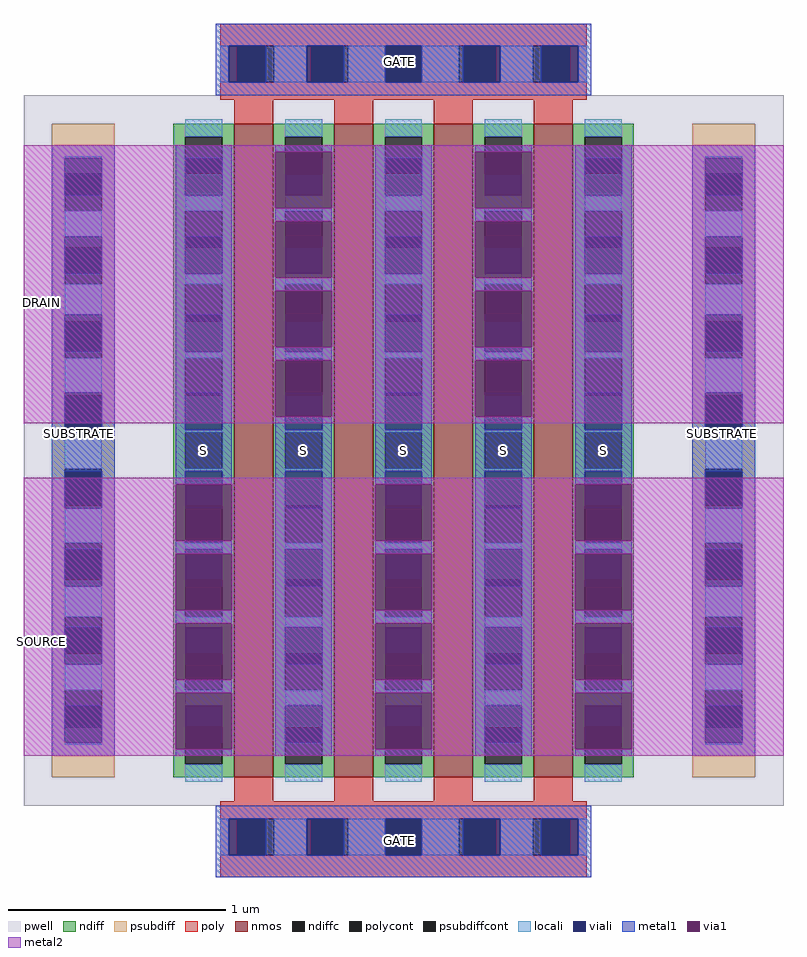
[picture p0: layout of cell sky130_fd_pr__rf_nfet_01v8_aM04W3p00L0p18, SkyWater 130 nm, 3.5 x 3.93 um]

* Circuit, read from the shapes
.subckt sky130_fd_pr__rf_nfet_01v8_aM04W3p00L0p18 DRAIN GATE SOURCE SUBSTRATE
XM1 DRAIN GATE SOURCE SUBSTRATE sky130_fd_pr__nfet_01v8 w=3.01 l=0.18 m=4
.ends

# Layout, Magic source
magic
tech sky130A
magscale 1 2
<< pwell >>
rect 0 66 700 720
<< nmos >>
rect 194 92 230 694
rect 286 92 322 694
rect 378 92 414 694
rect 470 92 506 694
<< ndiff >>
rect 138 682 194 694
rect 138 648 149 682
rect 183 648 194 682
rect 138 614 194 648
rect 138 580 149 614
rect 183 580 194 614
rect 138 546 194 580
rect 138 512 149 546
rect 183 512 194 546
rect 138 478 194 512
rect 138 444 149 478
rect 183 444 194 478
rect 138 410 194 444
rect 138 376 149 410
rect 183 376 194 410
rect 138 342 194 376
rect 138 308 149 342
rect 183 308 194 342
rect 138 274 194 308
rect 138 240 149 274
rect 183 240 194 274
rect 138 206 194 240
rect 138 172 149 206
rect 183 172 194 206
rect 138 138 194 172
rect 138 104 149 138
rect 183 104 194 138
rect 138 92 194 104
rect 230 682 286 694
rect 230 648 241 682
rect 275 648 286 682
rect 230 614 286 648
rect 230 580 241 614
rect 275 580 286 614
rect 230 546 286 580
rect 230 512 241 546
rect 275 512 286 546
rect 230 478 286 512
rect 230 444 241 478
rect 275 444 286 478
rect 230 410 286 444
rect 230 376 241 410
rect 275 376 286 410
rect 230 342 286 376
rect 230 308 241 342
rect 275 308 286 342
rect 230 274 286 308
rect 230 240 241 274
rect 275 240 286 274
rect 230 206 286 240
rect 230 172 241 206
rect 275 172 286 206
rect 230 138 286 172
rect 230 104 241 138
rect 275 104 286 138
rect 230 92 286 104
rect 322 682 378 694
rect 322 648 333 682
rect 367 648 378 682
rect 322 614 378 648
rect 322 580 333 614
rect 367 580 378 614
rect 322 546 378 580
rect 322 512 333 546
rect 367 512 378 546
rect 322 478 378 512
rect 322 444 333 478
rect 367 444 378 478
rect 322 410 378 444
rect 322 376 333 410
rect 367 376 378 410
rect 322 342 378 376
rect 322 308 333 342
rect 367 308 378 342
rect 322 274 378 308
rect 322 240 333 274
rect 367 240 378 274
rect 322 206 378 240
rect 322 172 333 206
rect 367 172 378 206
rect 322 138 378 172
rect 322 104 333 138
rect 367 104 378 138
rect 322 92 378 104
rect 414 682 470 694
rect 414 648 425 682
rect 459 648 470 682
rect 414 614 470 648
rect 414 580 425 614
rect 459 580 470 614
rect 414 546 470 580
rect 414 512 425 546
rect 459 512 470 546
rect 414 478 470 512
rect 414 444 425 478
rect 459 444 470 478
rect 414 410 470 444
rect 414 376 425 410
rect 459 376 470 410
rect 414 342 470 376
rect 414 308 425 342
rect 459 308 470 342
rect 414 274 470 308
rect 414 240 425 274
rect 459 240 470 274
rect 414 206 470 240
rect 414 172 425 206
rect 459 172 470 206
rect 414 138 470 172
rect 414 104 425 138
rect 459 104 470 138
rect 414 92 470 104
rect 506 682 562 694
rect 506 648 517 682
rect 551 648 562 682
rect 506 614 562 648
rect 506 580 517 614
rect 551 580 562 614
rect 506 546 562 580
rect 506 512 517 546
rect 551 512 562 546
rect 506 478 562 512
rect 506 444 517 478
rect 551 444 562 478
rect 506 410 562 444
rect 506 376 517 410
rect 551 376 562 410
rect 506 342 562 376
rect 506 308 517 342
rect 551 308 562 342
rect 506 274 562 308
rect 506 240 517 274
rect 551 240 562 274
rect 506 206 562 240
rect 506 172 517 206
rect 551 172 562 206
rect 506 138 562 172
rect 506 104 517 138
rect 551 104 562 138
rect 506 92 562 104
<< ndiffc >>
rect 149 648 183 682
rect 149 580 183 614
rect 149 512 183 546
rect 149 444 183 478
rect 149 376 183 410
rect 149 308 183 342
rect 149 240 183 274
rect 149 172 183 206
rect 149 104 183 138
rect 241 648 275 682
rect 241 580 275 614
rect 241 512 275 546
rect 241 444 275 478
rect 241 376 275 410
rect 241 308 275 342
rect 241 240 275 274
rect 241 172 275 206
rect 241 104 275 138
rect 333 648 367 682
rect 333 580 367 614
rect 333 512 367 546
rect 333 444 367 478
rect 333 376 367 410
rect 333 308 367 342
rect 333 240 367 274
rect 333 172 367 206
rect 333 104 367 138
rect 425 648 459 682
rect 425 580 459 614
rect 425 512 459 546
rect 425 444 459 478
rect 425 376 459 410
rect 425 308 459 342
rect 425 240 459 274
rect 425 172 459 206
rect 425 104 459 138
rect 517 648 551 682
rect 517 580 551 614
rect 517 512 551 546
rect 517 444 551 478
rect 517 376 551 410
rect 517 308 551 342
rect 517 240 551 274
rect 517 172 551 206
rect 517 104 551 138
<< psubdiff >>
rect 26 648 84 694
rect 26 614 38 648
rect 72 614 84 648
rect 26 580 84 614
rect 26 546 38 580
rect 72 546 84 580
rect 26 512 84 546
rect 26 478 38 512
rect 72 478 84 512
rect 26 444 84 478
rect 26 410 38 444
rect 72 410 84 444
rect 26 376 84 410
rect 26 342 38 376
rect 72 342 84 376
rect 26 308 84 342
rect 26 274 38 308
rect 72 274 84 308
rect 26 240 84 274
rect 26 206 38 240
rect 72 206 84 240
rect 26 172 84 206
rect 26 138 38 172
rect 72 138 84 172
rect 26 92 84 138
rect 616 648 674 694
rect 616 614 628 648
rect 662 614 674 648
rect 616 580 674 614
rect 616 546 628 580
rect 662 546 674 580
rect 616 512 674 546
rect 616 478 628 512
rect 662 478 674 512
rect 616 444 674 478
rect 616 410 628 444
rect 662 410 674 444
rect 616 376 674 410
rect 616 342 628 376
rect 662 342 674 376
rect 616 308 674 342
rect 616 274 628 308
rect 662 274 674 308
rect 616 240 674 274
rect 616 206 628 240
rect 662 206 674 240
rect 616 172 674 206
rect 616 138 628 172
rect 662 138 674 172
rect 616 92 674 138
<< psubdiffcont >>
rect 38 614 72 648
rect 38 546 72 580
rect 38 478 72 512
rect 38 410 72 444
rect 38 342 72 376
rect 38 274 72 308
rect 38 206 72 240
rect 38 138 72 172
rect 628 614 662 648
rect 628 546 662 580
rect 628 478 662 512
rect 628 410 662 444
rect 628 342 662 376
rect 628 274 662 308
rect 628 206 662 240
rect 628 138 662 172
<< poly >>
rect 181 766 519 786
rect 181 732 197 766
rect 231 732 265 766
rect 299 732 333 766
rect 367 732 401 766
rect 435 732 469 766
rect 503 732 519 766
rect 181 716 519 732
rect 194 694 230 716
rect 286 694 322 716
rect 378 694 414 716
rect 470 694 506 716
rect 194 70 230 92
rect 286 70 322 92
rect 378 70 414 92
rect 470 70 506 92
rect 181 54 519 70
rect 181 20 197 54
rect 231 20 265 54
rect 299 20 333 54
rect 367 20 401 54
rect 435 20 469 54
rect 503 20 519 54
rect 181 0 519 20
<< polycont >>
rect 197 732 231 766
rect 265 732 299 766
rect 333 732 367 766
rect 401 732 435 766
rect 469 732 503 766
rect 197 20 231 54
rect 265 20 299 54
rect 333 20 367 54
rect 401 20 435 54
rect 469 20 503 54
<< locali >>
rect 181 732 189 766
rect 231 732 261 766
rect 299 732 333 766
rect 367 732 401 766
rect 439 732 469 766
rect 511 732 519 766
rect 149 682 183 698
rect 38 662 72 664
rect 38 590 72 614
rect 38 518 72 546
rect 38 446 72 478
rect 38 376 72 410
rect 38 308 72 340
rect 38 240 72 268
rect 38 172 72 196
rect 38 122 72 124
rect 149 614 183 628
rect 149 546 183 556
rect 149 478 183 484
rect 149 410 183 412
rect 149 374 183 376
rect 149 302 183 308
rect 149 230 183 240
rect 149 158 183 172
rect 149 88 183 104
rect 241 682 275 698
rect 241 614 275 628
rect 241 546 275 556
rect 241 478 275 484
rect 241 410 275 412
rect 241 374 275 376
rect 241 302 275 308
rect 241 230 275 240
rect 241 158 275 172
rect 241 88 275 104
rect 333 682 367 698
rect 333 614 367 628
rect 333 546 367 556
rect 333 478 367 484
rect 333 410 367 412
rect 333 374 367 376
rect 333 302 367 308
rect 333 230 367 240
rect 333 158 367 172
rect 333 88 367 104
rect 425 682 459 698
rect 425 614 459 628
rect 425 546 459 556
rect 425 478 459 484
rect 425 410 459 412
rect 425 374 459 376
rect 425 302 459 308
rect 425 230 459 240
rect 425 158 459 172
rect 425 88 459 104
rect 517 682 551 698
rect 517 614 551 628
rect 517 546 551 556
rect 517 478 551 484
rect 517 410 551 412
rect 517 374 551 376
rect 517 302 551 308
rect 517 230 551 240
rect 517 158 551 172
rect 628 662 662 664
rect 628 590 662 614
rect 628 518 662 546
rect 628 446 662 478
rect 628 376 662 410
rect 628 308 662 340
rect 628 240 662 268
rect 628 172 662 196
rect 628 122 662 124
rect 517 88 551 104
rect 181 20 189 54
rect 231 20 261 54
rect 299 20 333 54
rect 367 20 401 54
rect 439 20 469 54
rect 511 20 519 54
<< viali >>
rect 189 732 197 766
rect 197 732 223 766
rect 261 732 265 766
rect 265 732 295 766
rect 333 732 367 766
rect 405 732 435 766
rect 435 732 439 766
rect 477 732 503 766
rect 503 732 511 766
rect 38 648 72 662
rect 38 628 72 648
rect 38 580 72 590
rect 38 556 72 580
rect 38 512 72 518
rect 38 484 72 512
rect 38 444 72 446
rect 38 412 72 444
rect 38 342 72 374
rect 38 340 72 342
rect 38 274 72 302
rect 38 268 72 274
rect 38 206 72 230
rect 38 196 72 206
rect 38 138 72 158
rect 38 124 72 138
rect 149 648 183 662
rect 149 628 183 648
rect 149 580 183 590
rect 149 556 183 580
rect 149 512 183 518
rect 149 484 183 512
rect 149 444 183 446
rect 149 412 183 444
rect 149 342 183 374
rect 149 340 183 342
rect 149 274 183 302
rect 149 268 183 274
rect 149 206 183 230
rect 149 196 183 206
rect 149 138 183 158
rect 149 124 183 138
rect 241 648 275 662
rect 241 628 275 648
rect 241 580 275 590
rect 241 556 275 580
rect 241 512 275 518
rect 241 484 275 512
rect 241 444 275 446
rect 241 412 275 444
rect 241 342 275 374
rect 241 340 275 342
rect 241 274 275 302
rect 241 268 275 274
rect 241 206 275 230
rect 241 196 275 206
rect 241 138 275 158
rect 241 124 275 138
rect 333 648 367 662
rect 333 628 367 648
rect 333 580 367 590
rect 333 556 367 580
rect 333 512 367 518
rect 333 484 367 512
rect 333 444 367 446
rect 333 412 367 444
rect 333 342 367 374
rect 333 340 367 342
rect 333 274 367 302
rect 333 268 367 274
rect 333 206 367 230
rect 333 196 367 206
rect 333 138 367 158
rect 333 124 367 138
rect 425 648 459 662
rect 425 628 459 648
rect 425 580 459 590
rect 425 556 459 580
rect 425 512 459 518
rect 425 484 459 512
rect 425 444 459 446
rect 425 412 459 444
rect 425 342 459 374
rect 425 340 459 342
rect 425 274 459 302
rect 425 268 459 274
rect 425 206 459 230
rect 425 196 459 206
rect 425 138 459 158
rect 425 124 459 138
rect 517 648 551 662
rect 517 628 551 648
rect 517 580 551 590
rect 517 556 551 580
rect 517 512 551 518
rect 517 484 551 512
rect 517 444 551 446
rect 517 412 551 444
rect 517 342 551 374
rect 517 340 551 342
rect 517 274 551 302
rect 517 268 551 274
rect 517 206 551 230
rect 517 196 551 206
rect 517 138 551 158
rect 517 124 551 138
rect 628 648 662 662
rect 628 628 662 648
rect 628 580 662 590
rect 628 556 662 580
rect 628 512 662 518
rect 628 484 662 512
rect 628 444 662 446
rect 628 412 662 444
rect 628 342 662 374
rect 628 340 662 342
rect 628 274 662 302
rect 628 268 662 274
rect 628 206 662 230
rect 628 196 662 206
rect 628 138 662 158
rect 628 124 662 138
rect 189 20 197 54
rect 197 20 223 54
rect 261 20 265 54
rect 265 20 295 54
rect 333 20 367 54
rect 405 20 435 54
rect 435 20 439 54
rect 477 20 503 54
rect 503 20 511 54
<< metal1 >>
rect 177 766 523 786
rect 177 732 189 766
rect 223 732 261 766
rect 295 732 333 766
rect 367 732 405 766
rect 439 732 477 766
rect 511 732 523 766
rect 177 720 523 732
rect 26 662 84 674
rect 26 628 38 662
rect 72 628 84 662
rect 26 590 84 628
rect 26 556 38 590
rect 72 556 84 590
rect 26 518 84 556
rect 26 484 38 518
rect 72 484 84 518
rect 26 446 84 484
rect 26 412 38 446
rect 72 412 84 446
rect 26 374 84 412
rect 26 340 38 374
rect 72 340 84 374
rect 26 302 84 340
rect 26 268 38 302
rect 72 268 84 302
rect 26 230 84 268
rect 26 196 38 230
rect 72 196 84 230
rect 26 158 84 196
rect 26 124 38 158
rect 72 124 84 158
rect 26 112 84 124
rect 140 662 192 674
rect 140 628 149 662
rect 183 628 192 662
rect 140 590 192 628
rect 140 556 149 590
rect 183 556 192 590
rect 140 518 192 556
rect 140 484 149 518
rect 183 484 192 518
rect 140 446 192 484
rect 140 412 149 446
rect 183 412 192 446
rect 140 374 192 412
rect 140 362 149 374
rect 183 362 192 374
rect 140 302 192 310
rect 140 298 149 302
rect 183 298 192 302
rect 140 234 192 246
rect 140 170 192 182
rect 140 112 192 118
rect 232 668 284 674
rect 232 604 284 616
rect 232 540 284 552
rect 232 484 241 488
rect 275 484 284 488
rect 232 476 284 484
rect 232 412 241 424
rect 275 412 284 424
rect 232 374 284 412
rect 232 340 241 374
rect 275 340 284 374
rect 232 302 284 340
rect 232 268 241 302
rect 275 268 284 302
rect 232 230 284 268
rect 232 196 241 230
rect 275 196 284 230
rect 232 158 284 196
rect 232 124 241 158
rect 275 124 284 158
rect 232 112 284 124
rect 324 662 376 674
rect 324 628 333 662
rect 367 628 376 662
rect 324 590 376 628
rect 324 556 333 590
rect 367 556 376 590
rect 324 518 376 556
rect 324 484 333 518
rect 367 484 376 518
rect 324 446 376 484
rect 324 412 333 446
rect 367 412 376 446
rect 324 374 376 412
rect 324 362 333 374
rect 367 362 376 374
rect 324 302 376 310
rect 324 298 333 302
rect 367 298 376 302
rect 324 234 376 246
rect 324 170 376 182
rect 324 112 376 118
rect 416 668 468 674
rect 416 604 468 616
rect 416 540 468 552
rect 416 484 425 488
rect 459 484 468 488
rect 416 476 468 484
rect 416 412 425 424
rect 459 412 468 424
rect 416 374 468 412
rect 416 340 425 374
rect 459 340 468 374
rect 416 302 468 340
rect 416 268 425 302
rect 459 268 468 302
rect 416 230 468 268
rect 416 196 425 230
rect 459 196 468 230
rect 416 158 468 196
rect 416 124 425 158
rect 459 124 468 158
rect 416 112 468 124
rect 508 662 560 674
rect 508 628 517 662
rect 551 628 560 662
rect 508 590 560 628
rect 508 556 517 590
rect 551 556 560 590
rect 508 518 560 556
rect 508 484 517 518
rect 551 484 560 518
rect 508 446 560 484
rect 508 412 517 446
rect 551 412 560 446
rect 508 374 560 412
rect 508 362 517 374
rect 551 362 560 374
rect 508 302 560 310
rect 508 298 517 302
rect 551 298 560 302
rect 508 234 560 246
rect 508 170 560 182
rect 508 112 560 118
rect 616 662 674 674
rect 616 628 628 662
rect 662 628 674 662
rect 616 590 674 628
rect 616 556 628 590
rect 662 556 674 590
rect 616 518 674 556
rect 616 484 628 518
rect 662 484 674 518
rect 616 446 674 484
rect 616 412 628 446
rect 662 412 674 446
rect 616 374 674 412
rect 616 340 628 374
rect 662 340 674 374
rect 616 302 674 340
rect 616 268 628 302
rect 662 268 674 302
rect 616 230 674 268
rect 616 196 628 230
rect 662 196 674 230
rect 616 158 674 196
rect 616 124 628 158
rect 662 124 674 158
rect 616 112 674 124
rect 177 54 523 66
rect 177 20 189 54
rect 223 20 261 54
rect 295 20 333 54
rect 367 20 405 54
rect 439 20 477 54
rect 511 20 523 54
rect 177 0 523 20
<< via1 >>
rect 140 340 149 362
rect 149 340 183 362
rect 183 340 192 362
rect 140 310 192 340
rect 140 268 149 298
rect 149 268 183 298
rect 183 268 192 298
rect 140 246 192 268
rect 140 230 192 234
rect 140 196 149 230
rect 149 196 183 230
rect 183 196 192 230
rect 140 182 192 196
rect 140 158 192 170
rect 140 124 149 158
rect 149 124 183 158
rect 183 124 192 158
rect 140 118 192 124
rect 232 662 284 668
rect 232 628 241 662
rect 241 628 275 662
rect 275 628 284 662
rect 232 616 284 628
rect 232 590 284 604
rect 232 556 241 590
rect 241 556 275 590
rect 275 556 284 590
rect 232 552 284 556
rect 232 518 284 540
rect 232 488 241 518
rect 241 488 275 518
rect 275 488 284 518
rect 232 446 284 476
rect 232 424 241 446
rect 241 424 275 446
rect 275 424 284 446
rect 324 340 333 362
rect 333 340 367 362
rect 367 340 376 362
rect 324 310 376 340
rect 324 268 333 298
rect 333 268 367 298
rect 367 268 376 298
rect 324 246 376 268
rect 324 230 376 234
rect 324 196 333 230
rect 333 196 367 230
rect 367 196 376 230
rect 324 182 376 196
rect 324 158 376 170
rect 324 124 333 158
rect 333 124 367 158
rect 367 124 376 158
rect 324 118 376 124
rect 416 662 468 668
rect 416 628 425 662
rect 425 628 459 662
rect 459 628 468 662
rect 416 616 468 628
rect 416 590 468 604
rect 416 556 425 590
rect 425 556 459 590
rect 459 556 468 590
rect 416 552 468 556
rect 416 518 468 540
rect 416 488 425 518
rect 425 488 459 518
rect 459 488 468 518
rect 416 446 468 476
rect 416 424 425 446
rect 425 424 459 446
rect 459 424 468 446
rect 508 340 517 362
rect 517 340 551 362
rect 551 340 560 362
rect 508 310 560 340
rect 508 268 517 298
rect 517 268 551 298
rect 551 268 560 298
rect 508 246 560 268
rect 508 230 560 234
rect 508 196 517 230
rect 517 196 551 230
rect 551 196 560 230
rect 508 182 560 196
rect 508 158 560 170
rect 508 124 517 158
rect 517 124 551 158
rect 551 124 560 158
rect 508 118 560 124
<< metal2 >>
rect 0 668 700 674
rect 0 616 232 668
rect 284 616 416 668
rect 468 616 700 668
rect 0 604 700 616
rect 0 552 232 604
rect 284 552 416 604
rect 468 552 700 604
rect 0 540 700 552
rect 0 488 232 540
rect 284 488 416 540
rect 468 488 700 540
rect 0 476 700 488
rect 0 424 232 476
rect 284 424 416 476
rect 468 424 700 476
rect 0 418 700 424
rect 0 362 700 368
rect 0 310 140 362
rect 192 310 324 362
rect 376 310 508 362
rect 560 310 700 362
rect 0 298 700 310
rect 0 246 140 298
rect 192 246 324 298
rect 376 246 508 298
rect 560 246 700 298
rect 0 234 700 246
rect 0 182 140 234
rect 192 182 324 234
rect 376 182 508 234
rect 560 182 700 234
rect 0 170 700 182
rect 0 118 140 170
rect 192 118 324 170
rect 376 118 508 170
rect 560 118 700 170
rect 0 112 700 118
<< labels >>
flabel poly s 305 16 388 51 0 FreeSans 200 0 0 0 GATE
port 2 nsew
flabel poly s 305 734 388 769 0 FreeSans 200 0 0 0 GATE
port 2 nsew
flabel metal1 s 644 409 644 409 0 FreeSans 200 90 0 0 SUBSTRATE
port 4 nsew
flabel metal1 s 52 409 52 409 0 FreeSans 200 90 0 0 SUBSTRATE
port 4 nsew
flabel metal2 s 9 501 25 557 0 FreeSans 200 90 0 0 DRAIN
port 1 nsew
flabel metal2 s 9 189 25 245 0 FreeSans 200 90 0 0 SOURCE
port 3 nsew
flabel comment s 166 393 166 393 0 FreeSans 300 0 0 0 S
flabel comment s 258 393 258 393 0 FreeSans 300 0 0 0 S
flabel comment s 350 393 350 393 0 FreeSans 300 0 0 0 S
flabel comment s 442 393 442 393 0 FreeSans 300 0 0 0 S
flabel comment s 166 393 166 393 0 FreeSans 300 0 0 0 S
flabel comment s 258 393 258 393 0 FreeSans 300 0 0 0 D
flabel comment s 350 393 350 393 0 FreeSans 300 0 0 0 S
flabel comment s 442 393 442 393 0 FreeSans 300 0 0 0 D
flabel comment s 534 393 534 393 0 FreeSans 300 0 0 0 S
<< properties >>
string GDS_FILE $PDKPATH/libs.ref/sky130_fd_pr/gds/sky130_fd_pr.gds
string GDS_END 5361288
string GDS_START 5345726
<< end >>
